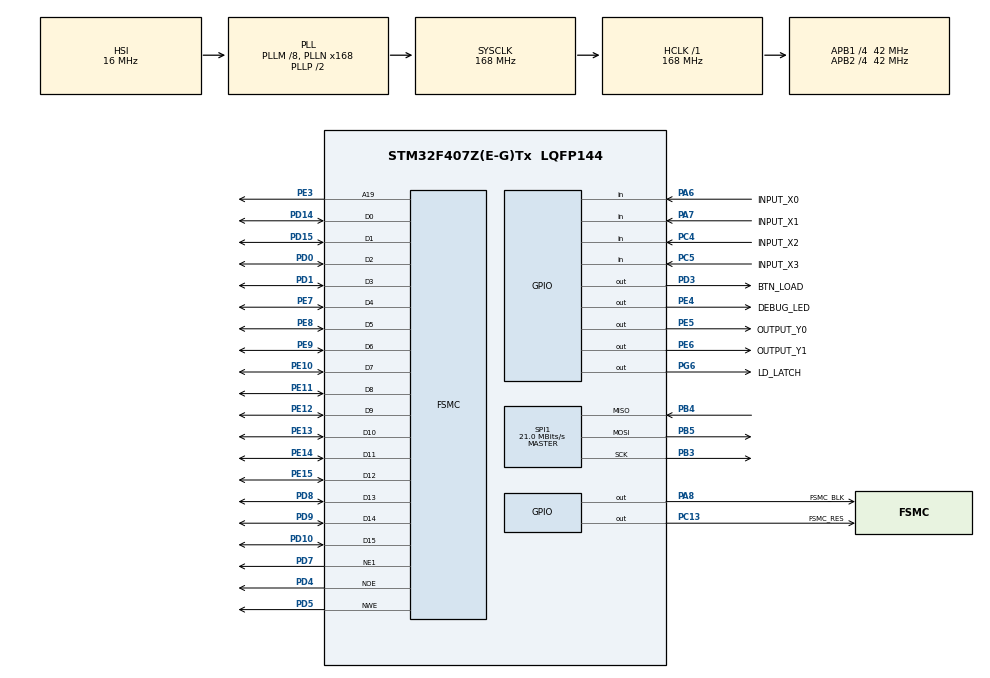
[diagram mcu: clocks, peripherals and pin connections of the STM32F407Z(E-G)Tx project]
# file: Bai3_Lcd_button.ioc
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FSMC.AddressSetupTime1=0xf
FSMC.BusTurnAroundDuration1=0
FSMC.DataSetupTime1=60
FSMC.ExtendedAddressSetupTime1=8
FSMC.ExtendedBusTurnAroundDuration1=0
FSMC.ExtendedDataSetupTime1=9
FSMC.ExtendedMode1=FSMC_EXTENDED_MODE_ENABLE
Mcu.Family=STM32F4
Mcu.Name=STM32F407Z(E-G)Tx
Mcu.Package=LQFP144
NVIC.PriorityGroup=NVIC_PRIORITYGROUP_4
NVIC.TIM2_IRQn=true\:0\:0\:false\:false\:true\:true\:true\:true
PA13.Mode=Serial_Wire
PA13.Signal=SYS_JTMS-SWDIO
PA14.Mode=Serial_Wire
PA14.Signal=SYS_JTCK-SWCLK
PA6.GPIO_Label=INPUT_X0
PA6.Signal=GPIO_Input
PA7.GPIO_Label=INPUT_X1
PA7.Signal=GPIO_Input
PA8.GPIO_Label=FSMC_BLK
PA8.Signal=GPIO_Output
PB3.Mode=Full_Duplex_Master
PB3.Signal=SPI1_SCK
PB4.Mode=Full_Duplex_Master
PB4.Signal=SPI1_MISO
PB5.Mode=Full_Duplex_Master
PB5.Signal=SPI1_MOSI
PC13-ANTI_TAMP.GPIO_Label=FSMC_RES
PC13-ANTI_TAMP.Signal=GPIO_Output
PC4.GPIO_Label=INPUT_X2
PC4.Signal=GPIO_Input
PC5.GPIO_Label=INPUT_X3
PC5.Signal=GPIO_Input
PD0.Signal=FSMC_D2_DA2
PD1.Signal=FSMC_D3_DA3
PD10.Signal=FSMC_D15_DA15
PD14.Signal=FSMC_D0_DA0
PD15.Signal=FSMC_D1_DA1
PD3.GPIO_Label=BTN_LOAD
PD3.Signal=GPIO_Output
PD4.Signal=FSMC_NOE
PD5.Signal=FSMC_NWE
PD7.Mode=NorPsramChipSelect1_1
PD7.Signal=FSMC_NE1
PD8.Signal=FSMC_D13_DA13
PD9.Signal=FSMC_D14_DA14
PE10.Signal=FSMC_D7_DA7
PE11.Signal=FSMC_D8_DA8
PE12.Signal=FSMC_D9_DA9
PE13.Signal=FSMC_D10_DA10
PE14.Signal=FSMC_D11_DA11
PE15.Signal=FSMC_D12_DA12
PE3.Signal=FSMC_A19
PE4.GPIO_Label=DEBUG_LED
PE4.Signal=GPIO_Output
PE5.GPIO_Label=OUTPUT_Y0
PE5.Signal=GPIO_Output
PE6.GPIO_Label=OUTPUT_Y1
PE6.Signal=GPIO_Output
PE7.Signal=FSMC_D4_DA4
PE8.Signal=FSMC_D5_DA5
PE9.Signal=FSMC_D6_DA6
PG6.GPIO_Label=LD_LATCH
PG6.Signal=GPIO_Output
PH0-OSC_IN.Mode=HSE-External-Oscillator
PH0-OSC_IN.Signal=RCC_OSC_IN
PH1-OSC_OUT.Mode=HSE-External-Oscillator
PH1-OSC_OUT.Signal=RCC_OSC_OUT
ProjectManager.HeapSize=0x200
ProjectManager.StackSize=0x400
ProjectManager.TargetToolchain=STM32CubeIDE
RCC.48MHZClocksFreq_Value=84000000
RCC.AHBFreq_Value=168000000
RCC.APB1CLKDivider=RCC_HCLK_DIV4
RCC.APB1Freq_Value=42000000
RCC.APB1TimFreq_Value=84000000
RCC.APB2CLKDivider=RCC_HCLK_DIV4
RCC.APB2Freq_Value=42000000
RCC.APB2TimFreq_Value=84000000
RCC.CortexFreq_Value=168000000
RCC.HCLKFreq_Value=168000000
RCC.HSE_VALUE=8000000
RCC.HSI_VALUE=16000000
RCC.LSE_VALUE=32768
RCC.PLLM=8
RCC.PLLN=168
RCC.SYSCLKFreq_VALUE=168000000
RCC.SYSCLKSource=RCC_SYSCLKSOURCE_PLLCLK
RCC.VCOOutputFreq_Value=336000000
SH.FSMC_A19.0=FSMC_A19,A19_1
SH.FSMC_D0_DA0.0=FSMC_D0,16b-d1
SH.FSMC_D10_DA10.0=FSMC_D10,16b-d1
SH.FSMC_D11_DA11.0=FSMC_D11,16b-d1
SH.FSMC_D12_DA12.0=FSMC_D12,16b-d1
SH.FSMC_D13_DA13.0=FSMC_D13,16b-d1
SH.FSMC_D14_DA14.0=FSMC_D14,16b-d1
SH.FSMC_D15_DA15.0=FSMC_D15,16b-d1
SH.FSMC_D1_DA1.0=FSMC_D1,16b-d1
SH.FSMC_D2_DA2.0=FSMC_D2,16b-d1
SH.FSMC_D3_DA3.0=FSMC_D3,16b-d1
SH.FSMC_D4_DA4.0=FSMC_D4,16b-d1
SH.FSMC_D5_DA5.0=FSMC_D5,16b-d1
SH.FSMC_D6_DA6.0=FSMC_D6,16b-d1
SH.FSMC_D7_DA7.0=FSMC_D7,16b-d1
SH.FSMC_D8_DA8.0=FSMC_D8,16b-d1
SH.FSMC_D9_DA9.0=FSMC_D9,16b-d1
SH.FSMC_NOE.0=FSMC_NOE,Lcd1
SH.FSMC_NWE.0=FSMC_NWE,Lcd1
SPI1.BaudRatePrescaler=SPI_BAUDRATEPRESCALER_2
SPI1.CalculateBaudRate=21.0 MBits/s
SPI1.Direction=SPI_DIRECTION_2LINES
SPI1.Mode=SPI_MODE_MASTER
SPI1.VirtualType=VM_MASTER
TIM2.Period=100-1
TIM2.Prescaler=840-1
VP_TIM2_VS_ClockSourceINT.Mode=Internal
board=custom

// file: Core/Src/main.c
/* USER CODE BEGIN Header */
/**
  ******************************************************************************
  * @file           : main.c
  * @brief          : Main program body
  ******************************************************************************
  * @attention
  *
  * <h2><center>&copy; Copyright (c) 2023 STMicroelectronics.
  * All rights reserved.</center></h2>
  *
  * This software component is licensed by ST under BSD 3-Clause license,
  * the "License"; You may not use this file except in compliance with the
  * License. You may obtain a copy of the License at:
  *                        opensource.org/licenses/BSD-3-Clause
  *
  ******************************************************************************
  */
/* USER CODE END Header */
#include "main.h"
#include "spi.h"
#include "tim.h"
#include "gpio.h"
#include "fsmc.h"

/* USER CODE BEGIN Includes */
#include "software_timer.h"
#include "led_7seg.h"
#include "button.h"
#include "lcd.h"
#include "picture.h"
/* USER CODE END Includes */

void SystemClock_Config(void);
/* USER CODE BEGIN PFP */
void system_init();
void test_LedDebug();
void test_LedY0();
void test_LedY1();
void test_7seg();
void test_button();
void test_lcd();
/* USER CODE END PFP */

int main(void)
{

  /* MCU Configuration--------------------------------------------------------*/

  /* Reset of all peripherals, Initializes the Flash interface and the Systick. */
  HAL_Init();

  /* Configure the system clock */
  SystemClock_Config();

  /* Initialize all configured peripherals */
  MX_GPIO_Init();
  MX_TIM2_Init();
  MX_SPI1_Init();
  MX_FSMC_Init();
  /* USER CODE BEGIN 2 */
  system_init();
  lcd_Clear(WHITE);
//  test_lcd();
//  displayTraffic(RED,GREEN);
  /* USER CODE END 2 */

  /* Infinite loop */
  /* USER CODE BEGIN WHILE */
#include "global.h"
  timerBegin(1000);
  while (1)
  {
//	  while(!flag_timer[2]);
//	  flag_timer[2] = 0;
	  button_Scan();
	  test_button();
	  fsm_for_input_processing();
    /* USER CODE END WHILE */

  }
}

void SystemClock_Config(void)
{
  RCC_OscInitTypeDef RCC_OscInitStruct = {0};
  RCC_ClkInitTypeDef RCC_ClkInitStruct = {0};

  /** Configure the main internal regulator output voltage
  */
  __HAL_RCC_PWR_CLK_ENABLE();
  __HAL_PWR_VOLTAGESCALING_CONFIG(PWR_REGULATOR_VOLTAGE_SCALE1);
  /** Initializes the RCC Oscillators according to the specified parameters
  * in the RCC_OscInitTypeDef structure.
  */
  RCC_OscInitStruct.OscillatorType = RCC_OSCILLATORTYPE_HSI;
  RCC_OscInitStruct.HSIState = RCC_HSI_ON;
  RCC_OscInitStruct.HSICalibrationValue = RCC_HSICALIBRATION_DEFAULT;
  RCC_OscInitStruct.PLL.PLLState = RCC_PLL_ON;
  RCC_OscInitStruct.PLL.PLLSource = RCC_PLLSOURCE_HSI;
  RCC_OscInitStruct.PLL.PLLM = 8;
  RCC_OscInitStruct.PLL.PLLN = 168;
  RCC_OscInitStruct.PLL.PLLP = RCC_PLLP_DIV2;
  RCC_OscInitStruct.PLL.PLLQ = 4;
  if (HAL_RCC_OscConfig(&RCC_OscInitStruct) != HAL_OK)
  {
    Error_Handler();
  }
  /** Initializes the CPU, AHB and APB buses clocks
  */
  RCC_ClkInitStruct.ClockType = RCC_CLOCKTYPE_HCLK|RCC_CLOCKTYPE_SYSCLK
                              |RCC_CLOCKTYPE_PCLK1|RCC_CLOCKTYPE_PCLK2;
  RCC_ClkInitStruct.SYSCLKSource = RCC_SYSCLKSOURCE_PLLCLK;
  RCC_ClkInitStruct.AHBCLKDivider = RCC_SYSCLK_DIV1;
  RCC_ClkInitStruct.APB1CLKDivider = RCC_HCLK_DIV4;
  RCC_ClkInitStruct.APB2CLKDivider = RCC_HCLK_DIV4;

  if (HAL_RCC_ClockConfig(&RCC_ClkInitStruct, FLASH_LATENCY_5) != HAL_OK)
  {
    Error_Handler();
  }
}

/* USER CODE BEGIN 4 */
void system_init(){
	  HAL_GPIO_WritePin(OUTPUT_Y0_GPIO_Port, OUTPUT_Y0_Pin, 0);
	  HAL_GPIO_WritePin(OUTPUT_Y1_GPIO_Port, OUTPUT_Y1_Pin, 0);
	  HAL_GPIO_WritePin(DEBUG_LED_GPIO_Port, DEBUG_LED_Pin, 0);
	  timer_init();
	  led7_init();
	  button_init();
	  lcd_init();
	  setTimer(50,2);
}

uint8_t count_led_debug = 0;
uint8_t count_led_Y0 = 0;
uint8_t count_led_Y1 = 0;

void test_LedDebug(){
	count_led_debug = (count_led_debug + 1)%20;
	if(count_led_debug == 0){
		HAL_GPIO_TogglePin(DEBUG_LED_GPIO_Port, DEBUG_LED_Pin);
	}
}

void test_LedY0(){
	count_led_Y0 = (count_led_Y0+ 1)%100;
	if(count_led_Y0 > 40){
		HAL_GPIO_WritePin(OUTPUT_Y0_GPIO_Port, OUTPUT_Y0_Pin, 1);
	} else {
		HAL_GPIO_WritePin(OUTPUT_Y0_GPIO_Port, OUTPUT_Y0_Pin, 0);
	}
}

void test_LedY1(){
	count_led_Y1 = (count_led_Y1+ 1)%40;
	if(count_led_Y1 > 10){
		HAL_GPIO_WritePin(OUTPUT_Y1_GPIO_Port, OUTPUT_Y1_Pin, 0);
	} else {
		HAL_GPIO_WritePin(OUTPUT_Y0_GPIO_Port, OUTPUT_Y1_Pin, 1);
	}
}

void test_7seg(){
	led7_SetDigit(0, 0, 0);
	led7_SetDigit(5, 1, 0);
	led7_SetDigit(4, 2, 0);
	led7_SetDigit(7, 3, 0);
}
void test_button(){
	for(int i = 0; i < 16; i++){
		if(button_count[i] == 1){
			lcd_ShowIntNum(140, 105, i, 2, BRED, WHITE, 32);
		}
	}
}
void test_lcd(){
	lcd_Fill(0, 0, 240, 20, BLUE);
	lcd_StrCenter(0, 2, "TRAFFIC LIGHT !!!", WHITE, BLUE, 16, 1);
	lcd_ShowStr(20, 30, "Test lcd screen", WHITE, RED, 24, 0);
	lcd_DrawCircle(160, 120, BRED, 40, 0);

	lcd_ShowPicture(80, 180, 90, 90, gImage_logo);
	lcd_DrawCircle(88, 150, RED, 15, 1);
	lcd_DrawCircle(152, 150, GREEN, 15, 1);
	lcd_DrawCircle(120, 150, YELLOW, 15, 1);

	lcd_DrawCircle(88, 300, RED, 15, 1);
	lcd_DrawCircle(152, 300, GREEN, 15, 1);
	lcd_DrawCircle(120, 300, YELLOW, 15, 1);

	lcd_DrawCircle(44, 193, RED, 15, 1);
	lcd_DrawCircle(44, 225, YELLOW, 15, 1);
	lcd_DrawCircle(44, 257, GREEN, 15, 1);

	lcd_DrawCircle(196, 193, RED, 15, 1);
	lcd_DrawCircle(196, 225, YELLOW, 15, 1);
	lcd_DrawCircle(196, 257, GREEN, 15, 1);

}

/* USER CODE END 4 */

void Error_Handler(void)
{
  __disable_irq();
  while (1)
  {
  }
}

/************************ (C) COPYRIGHT STMicroelectronics *****END OF FILE****/
